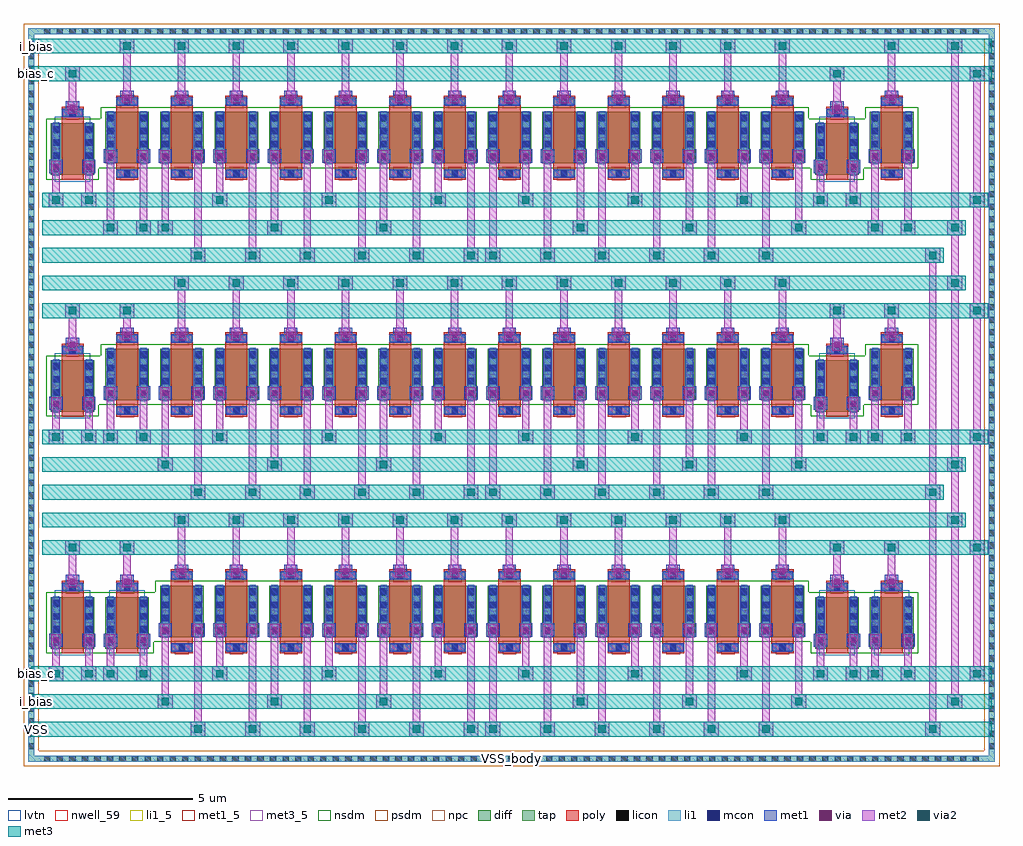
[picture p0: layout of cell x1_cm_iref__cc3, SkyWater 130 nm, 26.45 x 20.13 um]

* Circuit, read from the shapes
.subckt x1_cm_iref__cc3 VSS VSS_body bias_c i_bias
XM1 bias_c bias_c bias_c VSS_body sky130_fd_pr__nfet_01v8_lvt w=1.4 l=0.6 m=8
XM2 bias_c bias_c bias_c VSS_body sky130_fd_pr__nfet_01v8 w=1.4 l=0.6 m=2
XM3 i_bias i_bias i_bias VSS_body sky130_fd_pr__nfet_01v8 w=1.4 l=0.6 m=2
XM4 VSS i_bias i_bias VSS_body sky130_fd_pr__nfet_01v8 w=1.4 l=0.6 m=18
XM5 VSS i_bias bias_c VSS_body sky130_fd_pr__nfet_01v8 w=1.4 l=0.6 m=18
.ends

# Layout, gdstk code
from math import pi, radians
import gdstk
lib = gdstk.Library(unit=1e-6, precision=1e-09)
def R(c, l, rs):  # rectangles x0, y0, x1, y1
    for r in rs: c.add(gdstk.rectangle(r[:2], r[2:], *l))
def A(c, l, x, y, w, h, nx, ny, dx, dy):  # array of equal rectangles
    R(c, l, [(x+i*dx, y+j*dy, x+i*dx+w, y+j*dy+h) for i in range(nx) for j in range(ny)])
nwell_59 = (64, 59)
diff = (65, 20)
tap = (65, 44)
poly = (66, 20)
licon = (66, 44)
li1_5 = (67, 5)
li1 = (67, 20)
mcon = (67, 44)
met1_5 = (68, 5)
met1 = (68, 20)
via = (68, 44)
met2 = (69, 20)
via2 = (69, 44)
met3_5 = (70, 5)
met3 = (70, 20)
nsdm = (93, 44)
psdm = (94, 20)
npc = (95, 20)
lvtn = (125, 44)

sky130_fd_pr__nfet_01v8_ = lib.new_cell('sky130_fd_pr__nfet_01v8_KCM6UP')
R(sky130_fd_pr__nfet_01v8_, diff, [(-0.59,-0.7,0.59,0.7)])
R(sky130_fd_pr__nfet_01v8_, poly, [(-0.3,-1.14,0.3,1.14)])
A(sky130_fd_pr__nfet_01v8_, licon, -0.53, -0.595, 0.17, 0.17, 1, 4, 0, 0.34)
A(sky130_fd_pr__nfet_01v8_, licon, 0.36, -0.595, 0.17, 0.17, 1, 4, 0, 0.34)
R(sky130_fd_pr__nfet_01v8_, licon, [(-0.085,-1.06,0.085,-0.89), (-0.085,0.89,0.085,1.06)])
R(sky130_fd_pr__nfet_01v8_, li1, [(-0.3,-1.06,0.3,-0.89), (-0.53,-0.72,-0.36,0.72), (0.36,-0.72,0.53,0.72), (-0.3,0.89,0.3,1.06)])
A(sky130_fd_pr__nfet_01v8_, mcon, -0.53, -0.625, 0.17, 0.17, 1, 4, 0, 0.36)
A(sky130_fd_pr__nfet_01v8_, mcon, 0.36, -0.625, 0.17, 0.17, 1, 4, 0, 0.36)
R(sky130_fd_pr__nfet_01v8_, mcon, [(-0.085,-1.06,0.085,-0.89), (-0.085,0.89,0.085,1.06)])
R(sky130_fd_pr__nfet_01v8_, met1, [(-0.28,-1.09,0.28,-0.86), (-0.56,-0.7,-0.33,0.7), (0.33,-0.7,0.56,0.7), (-0.28,0.86,0.28,1.09)])
R(sky130_fd_pr__nfet_01v8_, nsdm, [(-0.715,-0.825,0.715,0.825)])
R(sky130_fd_pr__nfet_01v8_, npc, [(-0.185,-1.16,0.185,-0.79), (-0.185,0.79,0.185,1.16)])
sky130_fd_pr__nfet_01v8_.add(gdstk.Label('D', (-0.445,0), layer=67, texttype=5))
sky130_fd_pr__nfet_01v8_.add(gdstk.Label('S', (0.445,0), layer=67, texttype=5))
sky130_fd_pr__nfet_01v8_.add(gdstk.Label('G', (0,0.975), layer=67, texttype=5))

nfet_01v8_w1p4_l0p6_m2__ = lib.new_cell('nfet_01v8_W1p4_L0p6_m2__nf1_gboth_sdfull_ng')
R(nfet_01v8_w1p4_l0p6_m2__, nwell_59, [(0.05,1.09,0.15,1.19)])
R(nfet_01v8_w1p4_l0p6_m2__, met1_5, [(0.03,1.14,0.26,1.34), (0.92,1.14,1.15,1.34), (0.31,2,0.87,2.23)])
R(nfet_01v8_w1p4_l0p6_m2__, met1, [(0.03,1.14,0.26,1.34), (0.92,1.14,1.15,1.34), (0.31,2,0.87,2.23)])
nfet_01v8_w1p4_l0p6_m2__.add(gdstk.Reference(sky130_fd_pr__nfet_01v8_, (0.59,1.14)))
nfet_01v8_w1p4_l0p6_m2__.add(gdstk.Label('D', (0.145,1.24), layer=68, texttype=5))
nfet_01v8_w1p4_l0p6_m2__.add(gdstk.Label('S', (1.035,1.24), layer=68, texttype=5))
nfet_01v8_w1p4_l0p6_m2__.add(gdstk.Label('G', (0.59,2.115), layer=68, texttype=5))
nfet_01v8_w1p4_l0p6_m2__.add(gdstk.Label('B', (0.1,1.14), layer=64, texttype=59))

c_sky130_fd_pr__nfet_01v8_ = lib.new_cell('sky130_fd_pr__nfet_01v8_lvt_RUA5M6')
R(c_sky130_fd_pr__nfet_01v8_, diff, [(-0.59,-0.855,0.59,0.545)])
R(c_sky130_fd_pr__nfet_01v8_, poly, [(-0.3,-0.985,0.3,0.985)])
A(c_sky130_fd_pr__nfet_01v8_, licon, -0.53, -0.75, 0.17, 0.17, 1, 4, 0, 0.34)
A(c_sky130_fd_pr__nfet_01v8_, licon, 0.36, -0.75, 0.17, 0.17, 1, 4, 0, 0.34)
R(c_sky130_fd_pr__nfet_01v8_, licon, [(-0.085,0.735,0.085,0.905)])
R(c_sky130_fd_pr__nfet_01v8_, li1, [(-0.53,-0.875,-0.36,0.565), (0.36,-0.875,0.53,0.565), (-0.3,0.735,0.3,0.905)])
A(c_sky130_fd_pr__nfet_01v8_, mcon, -0.53, -0.78, 0.17, 0.17, 1, 4, 0, 0.36)
A(c_sky130_fd_pr__nfet_01v8_, mcon, 0.36, -0.78, 0.17, 0.17, 1, 4, 0, 0.36)
R(c_sky130_fd_pr__nfet_01v8_, mcon, [(-0.085,0.735,0.085,0.905)])
R(c_sky130_fd_pr__nfet_01v8_, met1, [(-0.56,-0.855,-0.33,0.545), (0.33,-0.855,0.56,0.545), (-0.28,0.705,0.28,0.935)])
R(c_sky130_fd_pr__nfet_01v8_, nsdm, [(-0.715,-0.98,0.715,0.67)])
R(c_sky130_fd_pr__nfet_01v8_, npc, [(-0.185,0.635,0.185,1.005)])
R(c_sky130_fd_pr__nfet_01v8_, lvtn, [(-0.48,-1.035,0.48,0.725)])
c_sky130_fd_pr__nfet_01v8_.add(gdstk.Label('D', (-0.445,-0.155), layer=67, texttype=5))
c_sky130_fd_pr__nfet_01v8_.add(gdstk.Label('S', (0.445,-0.155), layer=67, texttype=5))
c_sky130_fd_pr__nfet_01v8_.add(gdstk.Label('G', (0,0.82), layer=67, texttype=5))

nfet_01v8_lvt_w1p4_l0p6_ = lib.new_cell('nfet_01v8_lvt_W1p4_L0p6_m8__nf1_gtop_sdfull_ng')
R(nfet_01v8_lvt_w1p4_l0p6_, nwell_59, [(0.05,0.78,0.15,0.88)])
R(nfet_01v8_lvt_w1p4_l0p6_, met1_5, [(0.03,0.83,0.26,1.03), (0.92,0.83,1.15,1.03), (0.31,1.69,0.87,1.92)])
R(nfet_01v8_lvt_w1p4_l0p6_, met1, [(0.03,0.83,0.26,1.03), (0.92,0.83,1.15,1.03), (0.31,1.69,0.87,1.92)])
nfet_01v8_lvt_w1p4_l0p6_.add(gdstk.Reference(c_sky130_fd_pr__nfet_01v8_, (0.59,0.985)))
nfet_01v8_lvt_w1p4_l0p6_.add(gdstk.Label('D', (0.145,0.93), layer=68, texttype=5))
nfet_01v8_lvt_w1p4_l0p6_.add(gdstk.Label('S', (1.035,0.93), layer=68, texttype=5))
nfet_01v8_lvt_w1p4_l0p6_.add(gdstk.Label('G', (0.59,1.805), layer=68, texttype=5))
nfet_01v8_lvt_w1p4_l0p6_.add(gdstk.Label('B', (0.1,0.83), layer=64, texttype=59))

nfet_01v8_w1p4_l0p6_m18_ = lib.new_cell('nfet_01v8_W1p4_L0p6_m18__nf1_gboth_sdfull_ng')
R(nfet_01v8_w1p4_l0p6_m18_, nwell_59, [(0.05,1.09,0.15,1.19)])
R(nfet_01v8_w1p4_l0p6_m18_, met1_5, [(0.03,1.14,0.26,1.34), (0.92,1.14,1.15,1.34), (0.31,2,0.87,2.23)])
R(nfet_01v8_w1p4_l0p6_m18_, met1, [(0.03,1.14,0.26,1.34), (0.92,1.14,1.15,1.34), (0.31,2,0.87,2.23)])
nfet_01v8_w1p4_l0p6_m18_.add(gdstk.Reference(sky130_fd_pr__nfet_01v8_, (0.59,1.14)))
nfet_01v8_w1p4_l0p6_m18_.add(gdstk.Label('D', (0.145,1.24), layer=68, texttype=5))
nfet_01v8_w1p4_l0p6_m18_.add(gdstk.Label('S', (1.035,1.24), layer=68, texttype=5))
nfet_01v8_w1p4_l0p6_m18_.add(gdstk.Label('G', (0.59,2.115), layer=68, texttype=5))
nfet_01v8_w1p4_l0p6_m18_.add(gdstk.Label('B', (0.1,1.14), layer=64, texttype=59))

x1_cm_iref__cc3 = lib.new_cell('x1_cm_iref__cc3')
R(x1_cm_iref__cc3, tap, [(-0.485,-2.935,25.715,-2.765), (-0.485,-2.765,-0.315,16.775), (25.545,-2.765,25.715,16.775), (-0.485,16.775,25.715,16.945)])
A(x1_cm_iref__cc3, licon, -0.05, -2.935, 0.17, 0.17, 75, 2, 0.34, 19.71)
A(x1_cm_iref__cc3, licon, -0.485, -2.6, 0.17, 0.17, 1, 57, 0, 0.34)
A(x1_cm_iref__cc3, licon, 25.545, -2.6, 0.17, 0.17, 1, 57, 0, 0.34)
R(x1_cm_iref__cc3, li1_5, [(12.565,-2.9,12.665,-2.8)])
R(x1_cm_iref__cc3, li1, [(-0.485,-2.935,25.715,-2.765), (-0.485,-2.765,-0.315,16.775), (25.545,-2.765,25.715,16.775), (-0.485,16.775,25.715,16.945)])
A(x1_cm_iref__cc3, met1, 0.09, 0.18, 0.36, 0.36, 1, 3, 0, 6.42)
A(x1_cm_iref__cc3, met1, 0.98, 0.18, 0.36, 0.36, 1, 3, 0, 6.42)
A(x1_cm_iref__cc3, met1, 20.81, 0.18, 0.36, 0.36, 1, 3, 0, 6.42)
A(x1_cm_iref__cc3, met1, 21.7, 0.18, 0.36, 0.36, 1, 3, 0, 6.42)
A(x1_cm_iref__cc3, met1, 3.05, 0.46, 0.36, 0.36, 1, 3, 0, 6.42)
A(x1_cm_iref__cc3, met1, 3.94, 0.46, 0.36, 0.36, 1, 3, 0, 6.42)
A(x1_cm_iref__cc3, met1, 4.53, 0.46, 0.36, 0.36, 1, 3, 0, 6.42)
A(x1_cm_iref__cc3, met1, 5.42, 0.46, 0.36, 0.36, 1, 3, 0, 6.42)
A(x1_cm_iref__cc3, met1, 6.01, 0.46, 0.36, 0.36, 1, 3, 0, 6.42)
A(x1_cm_iref__cc3, met1, 6.9, 0.46, 0.36, 0.36, 1, 3, 0, 6.42)
A(x1_cm_iref__cc3, met1, 7.49, 0.46, 0.36, 0.36, 1, 3, 0, 6.42)
A(x1_cm_iref__cc3, met1, 8.38, 0.46, 0.36, 0.36, 1, 3, 0, 6.42)
A(x1_cm_iref__cc3, met1, 8.97, 0.46, 0.36, 0.36, 1, 3, 0, 6.42)
A(x1_cm_iref__cc3, met1, 9.86, 0.46, 0.36, 0.36, 1, 3, 0, 6.42)
A(x1_cm_iref__cc3, met1, 10.45, 0.46, 0.36, 0.36, 1, 3, 0, 6.42)
A(x1_cm_iref__cc3, met1, 11.34, 0.46, 0.36, 0.36, 1, 3, 0, 6.42)
A(x1_cm_iref__cc3, met1, 11.93, 0.46, 0.36, 0.36, 1, 3, 0, 6.42)
A(x1_cm_iref__cc3, met1, 12.82, 0.46, 0.36, 0.36, 1, 3, 0, 6.42)
A(x1_cm_iref__cc3, met1, 13.41, 0.46, 0.36, 0.36, 1, 3, 0, 6.42)
A(x1_cm_iref__cc3, met1, 14.3, 0.46, 0.36, 0.36, 1, 3, 0, 6.42)
A(x1_cm_iref__cc3, met1, 14.89, 0.46, 0.36, 0.36, 1, 3, 0, 6.42)
A(x1_cm_iref__cc3, met1, 15.78, 0.46, 0.36, 0.36, 1, 3, 0, 6.42)
A(x1_cm_iref__cc3, met1, 16.37, 0.46, 0.36, 0.36, 1, 3, 0, 6.42)
A(x1_cm_iref__cc3, met1, 17.26, 0.46, 0.36, 0.36, 1, 3, 0, 6.42)
A(x1_cm_iref__cc3, met1, 17.85, 0.46, 0.36, 0.36, 1, 3, 0, 6.42)
A(x1_cm_iref__cc3, met1, 18.74, 0.46, 0.36, 0.36, 1, 3, 0, 6.42)
A(x1_cm_iref__cc3, met1, 19.33, 0.46, 0.36, 0.36, 1, 3, 0, 6.42)
A(x1_cm_iref__cc3, met1, 20.22, 0.46, 0.36, 0.36, 1, 3, 0, 6.42)
A(x1_cm_iref__cc3, met1, 0.535, 1.77, 0.36, 0.36, 1, 3, 0, 6.42)
A(x1_cm_iref__cc3, met1, 21.255, 1.77, 0.36, 0.36, 1, 3, 0, 6.42)
A(x1_cm_iref__cc3, met1, 3.495, 2.05, 0.36, 0.36, 12, 1, 1.48, 0)
A(x1_cm_iref__cc3, met1, 2.015, 8.47, 0.36, 0.36, 13, 2, 1.48, 6.42)
R(x1_cm_iref__cc3, met1, [(1.57,0.18,1.93,0.54), (2.46,0.18,2.82,0.54), (22.29,0.18,22.65,0.54), (23.18,0.18,23.54,0.54), (2.015,1.77,2.375,2.13), (22.735,1.77,23.095,2.13), (1.57,6.88,1.93,7.24), (2.46,6.88,2.82,7.24), (22.29,6.88,22.65,7.24), (23.18,6.88,23.54,7.24), (22.735,8.47,23.095,8.83), (1.57,13.3,1.93,13.66), (2.46,13.3,2.82,13.66), (22.29,13.3,22.65,13.66), (23.18,13.3,23.54,13.66), (22.735,14.89,23.095,15.25)])
A(x1_cm_iref__cc3, via, 0.195, 0.285, 0.15, 0.15, 1, 3, 0, 6.42)
A(x1_cm_iref__cc3, via, 1.085, 0.285, 0.15, 0.15, 1, 3, 0, 6.42)
A(x1_cm_iref__cc3, via, 20.915, 0.285, 0.15, 0.15, 1, 3, 0, 6.42)
A(x1_cm_iref__cc3, via, 21.805, 0.285, 0.15, 0.15, 1, 3, 0, 6.42)
A(x1_cm_iref__cc3, via, 3.155, 0.565, 0.15, 0.15, 1, 3, 0, 6.42)
A(x1_cm_iref__cc3, via, 4.045, 0.565, 0.15, 0.15, 1, 3, 0, 6.42)
A(x1_cm_iref__cc3, via, 4.635, 0.565, 0.15, 0.15, 1, 3, 0, 6.42)
A(x1_cm_iref__cc3, via, 5.525, 0.565, 0.15, 0.15, 1, 3, 0, 6.42)
A(x1_cm_iref__cc3, via, 6.115, 0.565, 0.15, 0.15, 1, 3, 0, 6.42)
A(x1_cm_iref__cc3, via, 7.005, 0.565, 0.15, 0.15, 1, 3, 0, 6.42)
A(x1_cm_iref__cc3, via, 7.595, 0.565, 0.15, 0.15, 1, 3, 0, 6.42)
A(x1_cm_iref__cc3, via, 8.485, 0.565, 0.15, 0.15, 1, 3, 0, 6.42)
A(x1_cm_iref__cc3, via, 9.075, 0.565, 0.15, 0.15, 1, 3, 0, 6.42)
A(x1_cm_iref__cc3, via, 9.965, 0.565, 0.15, 0.15, 1, 3, 0, 6.42)
A(x1_cm_iref__cc3, via, 10.555, 0.565, 0.15, 0.15, 1, 3, 0, 6.42)
A(x1_cm_iref__cc3, via, 11.445, 0.565, 0.15, 0.15, 1, 3, 0, 6.42)
A(x1_cm_iref__cc3, via, 12.035, 0.565, 0.15, 0.15, 1, 3, 0, 6.42)
A(x1_cm_iref__cc3, via, 12.925, 0.565, 0.15, 0.15, 1, 3, 0, 6.42)
A(x1_cm_iref__cc3, via, 13.515, 0.565, 0.15, 0.15, 1, 3, 0, 6.42)
A(x1_cm_iref__cc3, via, 14.405, 0.565, 0.15, 0.15, 1, 3, 0, 6.42)
A(x1_cm_iref__cc3, via, 14.995, 0.565, 0.15, 0.15, 1, 3, 0, 6.42)
A(x1_cm_iref__cc3, via, 15.885, 0.565, 0.15, 0.15, 1, 3, 0, 6.42)
A(x1_cm_iref__cc3, via, 16.475, 0.565, 0.15, 0.15, 1, 3, 0, 6.42)
A(x1_cm_iref__cc3, via, 17.365, 0.565, 0.15, 0.15, 1, 3, 0, 6.42)
A(x1_cm_iref__cc3, via, 17.955, 0.565, 0.15, 0.15, 1, 3, 0, 6.42)
A(x1_cm_iref__cc3, via, 18.845, 0.565, 0.15, 0.15, 1, 3, 0, 6.42)
A(x1_cm_iref__cc3, via, 19.435, 0.565, 0.15, 0.15, 1, 3, 0, 6.42)
A(x1_cm_iref__cc3, via, 20.325, 0.565, 0.15, 0.15, 1, 3, 0, 6.42)
A(x1_cm_iref__cc3, via, 0.64, 1.875, 0.15, 0.15, 1, 3, 0, 6.42)
A(x1_cm_iref__cc3, via, 21.36, 1.875, 0.15, 0.15, 1, 3, 0, 6.42)
A(x1_cm_iref__cc3, via, 3.6, 2.155, 0.15, 0.15, 12, 1, 1.48, 0)
A(x1_cm_iref__cc3, via, 2.12, 8.575, 0.15, 0.15, 13, 2, 1.48, 6.42)
R(x1_cm_iref__cc3, via, [(1.675,0.285,1.825,0.435), (2.565,0.285,2.715,0.435), (22.395,0.285,22.545,0.435), (23.285,0.285,23.435,0.435), (2.12,1.875,2.27,2.025), (22.84,1.875,22.99,2.025), (1.675,6.985,1.825,7.135), (2.565,6.985,2.715,7.135), (22.395,6.985,22.545,7.135), (23.285,6.985,23.435,7.135), (22.84,8.575,22.99,8.725), (1.675,13.405,1.825,13.555), (2.565,13.405,2.715,13.555), (22.395,13.405,22.545,13.555), (23.285,13.405,23.435,13.555), (22.84,14.995,22.99,15.145)])
A(x1_cm_iref__cc3, met2, 3.92, -2.25, 0.4, 0.4, 6, 3, 1.48, 6.42)
A(x1_cm_iref__cc3, met2, 11.91, -2.25, 0.4, 0.4, 6, 3, 1.48, 6.42)
A(x1_cm_iref__cc3, met2, 23.83, -2.25, 0.4, 0.4, 1, 3, 0, 6.42)
A(x1_cm_iref__cc3, met2, 4.02, -1.85, 0.2, 2.33, 6, 3, 1.48, 6.42)
A(x1_cm_iref__cc3, met2, 12.01, -1.85, 0.2, 2.33, 6, 3, 1.48, 6.42)
A(x1_cm_iref__cc3, met2, 3.03, -1.5, 0.4, 0.4, 3, 3, 2.96, 6.42)
A(x1_cm_iref__cc3, met2, 14.28, -1.5, 0.4, 0.4, 3, 3, 2.96, 6.42)
A(x1_cm_iref__cc3, met2, 3.13, -1.1, 0.2, 1.58, 3, 3, 2.96, 6.42)
A(x1_cm_iref__cc3, met2, 14.38, -1.1, 0.2, 1.58, 3, 3, 2.96, 6.42)
A(x1_cm_iref__cc3, met2, 24.53, -1.1, 0.2, 4.52, 1, 3, 0, 6.42)
A(x1_cm_iref__cc3, met2, 0.07, -0.75, 0.4, 0.4, 1, 3, 0, 6.42)
A(x1_cm_iref__cc3, met2, 0.96, -0.75, 0.4, 0.4, 1, 3, 0, 6.42)
A(x1_cm_iref__cc3, met2, 4.51, -0.75, 0.4, 0.4, 3, 3, 2.96, 6.42)
A(x1_cm_iref__cc3, met2, 12.8, -0.75, 0.4, 0.4, 3, 3, 2.96, 6.42)
A(x1_cm_iref__cc3, met2, 20.79, -0.75, 0.4, 0.4, 1, 3, 0, 6.42)
A(x1_cm_iref__cc3, met2, 21.68, -0.75, 0.4, 0.4, 1, 3, 0, 6.42)
A(x1_cm_iref__cc3, met2, 0.17, -0.35, 0.2, 0.55, 1, 3, 0, 6.42)
A(x1_cm_iref__cc3, met2, 1.06, -0.35, 0.2, 0.55, 1, 3, 0, 6.42)
A(x1_cm_iref__cc3, met2, 4.61, -0.35, 0.2, 0.83, 3, 3, 2.96, 6.42)
A(x1_cm_iref__cc3, met2, 12.9, -0.35, 0.2, 0.83, 3, 3, 2.96, 6.42)
A(x1_cm_iref__cc3, met2, 20.89, -0.35, 0.2, 0.55, 1, 3, 0, 6.42)
A(x1_cm_iref__cc3, met2, 21.78, -0.35, 0.2, 0.55, 1, 3, 0, 6.42)
A(x1_cm_iref__cc3, met2, 25.13, -0.35, 0.2, 3.02, 1, 3, 0, 6.42)
A(x1_cm_iref__cc3, met2, 0.14, 0.2, 0.26, 0.32, 1, 3, 0, 6.42)
A(x1_cm_iref__cc3, met2, 1.03, 0.2, 0.26, 0.32, 1, 3, 0, 6.42)
A(x1_cm_iref__cc3, met2, 20.86, 0.2, 0.26, 0.32, 1, 3, 0, 6.42)
A(x1_cm_iref__cc3, met2, 21.75, 0.2, 0.26, 0.32, 1, 3, 0, 6.42)
A(x1_cm_iref__cc3, met2, 3.1, 0.48, 0.26, 0.32, 1, 3, 0, 6.42)
A(x1_cm_iref__cc3, met2, 3.99, 0.48, 0.26, 0.32, 1, 3, 0, 6.42)
A(x1_cm_iref__cc3, met2, 4.58, 0.48, 0.26, 0.32, 1, 3, 0, 6.42)
A(x1_cm_iref__cc3, met2, 5.47, 0.48, 0.26, 0.32, 1, 3, 0, 6.42)
A(x1_cm_iref__cc3, met2, 6.06, 0.48, 0.26, 0.32, 1, 3, 0, 6.42)
A(x1_cm_iref__cc3, met2, 6.95, 0.48, 0.26, 0.32, 1, 3, 0, 6.42)
A(x1_cm_iref__cc3, met2, 7.54, 0.48, 0.26, 0.32, 1, 3, 0, 6.42)
A(x1_cm_iref__cc3, met2, 8.43, 0.48, 0.26, 0.32, 1, 3, 0, 6.42)
A(x1_cm_iref__cc3, met2, 9.02, 0.48, 0.26, 0.32, 1, 3, 0, 6.42)
A(x1_cm_iref__cc3, met2, 9.91, 0.48, 0.26, 0.32, 1, 3, 0, 6.42)
A(x1_cm_iref__cc3, met2, 10.5, 0.48, 0.26, 0.32, 1, 3, 0, 6.42)
A(x1_cm_iref__cc3, met2, 11.39, 0.48, 0.26, 0.32, 1, 3, 0, 6.42)
A(x1_cm_iref__cc3, met2, 11.98, 0.48, 0.26, 0.32, 1, 3, 0, 6.42)
A(x1_cm_iref__cc3, met2, 12.87, 0.48, 0.26, 0.32, 1, 3, 0, 6.42)
A(x1_cm_iref__cc3, met2, 13.46, 0.48, 0.26, 0.32, 1, 3, 0, 6.42)
A(x1_cm_iref__cc3, met2, 14.35, 0.48, 0.26, 0.32, 1, 3, 0, 6.42)
A(x1_cm_iref__cc3, met2, 14.94, 0.48, 0.26, 0.32, 1, 3, 0, 6.42)
A(x1_cm_iref__cc3, met2, 15.83, 0.48, 0.26, 0.32, 1, 3, 0, 6.42)
A(x1_cm_iref__cc3, met2, 16.42, 0.48, 0.26, 0.32, 1, 3, 0, 6.42)
A(x1_cm_iref__cc3, met2, 17.31, 0.48, 0.26, 0.32, 1, 3, 0, 6.42)
A(x1_cm_iref__cc3, met2, 17.9, 0.48, 0.26, 0.32, 1, 3, 0, 6.42)
A(x1_cm_iref__cc3, met2, 18.79, 0.48, 0.26, 0.32, 1, 3, 0, 6.42)
A(x1_cm_iref__cc3, met2, 19.38, 0.48, 0.26, 0.32, 1, 3, 0, 6.42)
A(x1_cm_iref__cc3, met2, 20.27, 0.48, 0.26, 0.32, 1, 3, 0, 6.42)
A(x1_cm_iref__cc3, met2, 0.585, 1.79, 0.26, 0.32, 1, 3, 0, 6.42)
A(x1_cm_iref__cc3, met2, 21.305, 1.79, 0.26, 0.32, 1, 3, 0, 6.42)
A(x1_cm_iref__cc3, met2, 3.545, 2.07, 0.26, 0.32, 12, 1, 1.48, 0)
A(x1_cm_iref__cc3, met2, 0.615, 2.11, 0.2, 0.56, 1, 3, 0, 6.42)
A(x1_cm_iref__cc3, met2, 21.335, 2.11, 0.2, 0.56, 1, 3, 0, 6.42)
A(x1_cm_iref__cc3, met2, 3.575, 2.39, 0.2, 1.03, 12, 2, 1.48, 6.42)
A(x1_cm_iref__cc3, met2, 0.515, 2.67, 0.4, 0.4, 1, 3, 0, 6.42)
A(x1_cm_iref__cc3, met2, 21.235, 2.67, 0.4, 0.4, 1, 3, 0, 6.42)
A(x1_cm_iref__cc3, met2, 3.475, 3.42, 0.4, 0.4, 12, 2, 1.48, 6.42)
A(x1_cm_iref__cc3, met2, 2.065, 8.49, 0.26, 0.32, 13, 2, 1.48, 6.42)
A(x1_cm_iref__cc3, met2, 2.095, 15.23, 0.2, 1.03, 13, 1, 1.48, 0)
A(x1_cm_iref__cc3, met2, 1.995, 16.26, 0.4, 0.4, 13, 1, 1.48, 0)
R(x1_cm_iref__cc3, met2, [(23.93,-1.85,24.13,4.17), (24.43,-1.5,24.83,-1.1), (1.55,-0.75,1.95,-0.35), (2.44,-0.75,2.84,-0.35), (22.27,-0.75,22.67,-0.35), (23.16,-0.75,23.56,-0.35), (25.03,-0.75,25.43,-0.35), (1.65,-0.35,1.85,0.2), (2.54,-0.35,2.74,0.2), (22.37,-0.35,22.57,0.2), (23.26,-0.35,23.46,0.2), (1.62,0.2,1.88,0.52), (2.51,0.2,2.77,0.52), (22.34,0.2,22.6,0.52), (23.23,0.2,23.49,0.52), (2.065,1.79,2.325,2.11), (22.785,1.79,23.045,2.11), (2.095,2.11,2.295,2.67), (22.815,2.11,23.015,2.67), (1.995,2.67,2.395,3.07), (22.715,2.67,23.115,3.07), (25.03,2.67,25.43,3.07), (25.13,3.07,25.33,5.67), (24.43,3.42,24.83,3.82), (24.53,3.82,24.73,4.92), (23.93,4.57,24.13,10.59), (24.43,4.92,24.83,5.32), (1.55,5.67,1.95,6.07), (2.44,5.67,2.84,6.07), (22.27,5.67,22.67,6.07), (23.16,5.67,23.56,6.07), (25.03,5.67,25.43,6.07), (1.65,6.07,1.85,6.9), (2.54,6.07,2.74,6.9), (22.37,6.07,22.57,6.9), (23.26,6.07,23.46,6.9), (1.62,6.9,1.88,7.22), (2.51,6.9,2.77,7.22), (22.34,6.9,22.6,7.22), (23.23,6.9,23.49,7.22), (22.785,8.49,23.045,8.81), (2.095,8.81,2.295,9.09), (22.815,8.81,23.015,9.09), (1.995,9.09,2.395,9.49), (22.715,9.09,23.115,9.49), (25.03,9.09,25.43,9.49), (25.13,9.49,25.33,12.09), (24.43,9.84,24.83,10.24), (24.53,10.24,24.73,11.34), (1.55,11.34,1.95,11.74), (2.44,11.34,2.84,11.74), (22.27,11.34,22.67,11.74), (23.16,11.34,23.56,11.74), (24.43,11.34,24.83,11.74), (1.65,11.74,1.85,13.32), (2.54,11.74,2.74,13.32), (22.37,11.74,22.57,13.32), (23.26,11.74,23.46,13.32), (25.03,12.09,25.43,12.49), (1.62,13.32,1.88,13.64), (2.51,13.32,2.77,13.64), (22.34,13.32,22.6,13.64), (23.23,13.32,23.49,13.64), (22.785,14.91,23.045,15.23), (22.815,15.23,23.015,16.26), (25.03,15.51,25.43,15.91), (22.715,16.26,23.115,16.66), (24.43,16.26,24.83,16.66)])
A(x1_cm_iref__cc3, via2, 4.02, -2.15, 0.2, 0.2, 6, 3, 1.48, 6.42)
A(x1_cm_iref__cc3, via2, 12.01, -2.15, 0.2, 0.2, 6, 3, 1.48, 6.42)
A(x1_cm_iref__cc3, via2, 23.93, -2.15, 0.2, 0.2, 1, 3, 0, 6.42)
A(x1_cm_iref__cc3, via2, 3.13, -1.4, 0.2, 0.2, 3, 3, 2.96, 6.42)
A(x1_cm_iref__cc3, via2, 14.38, -1.4, 0.2, 0.2, 3, 3, 2.96, 6.42)
A(x1_cm_iref__cc3, via2, 0.17, -0.65, 0.2, 0.2, 1, 3, 0, 6.42)
A(x1_cm_iref__cc3, via2, 1.06, -0.65, 0.2, 0.2, 1, 3, 0, 6.42)
A(x1_cm_iref__cc3, via2, 4.61, -0.65, 0.2, 0.2, 3, 3, 2.96, 6.42)
A(x1_cm_iref__cc3, via2, 12.9, -0.65, 0.2, 0.2, 3, 3, 2.96, 6.42)
A(x1_cm_iref__cc3, via2, 20.89, -0.65, 0.2, 0.2, 1, 3, 0, 6.42)
A(x1_cm_iref__cc3, via2, 21.78, -0.65, 0.2, 0.2, 1, 3, 0, 6.42)
A(x1_cm_iref__cc3, via2, 0.615, 2.77, 0.2, 0.2, 1, 3, 0, 6.42)
A(x1_cm_iref__cc3, via2, 21.335, 2.77, 0.2, 0.2, 1, 3, 0, 6.42)
A(x1_cm_iref__cc3, via2, 3.575, 3.52, 0.2, 0.2, 12, 2, 1.48, 6.42)
A(x1_cm_iref__cc3, via2, 2.095, 16.36, 0.2, 0.2, 13, 1, 1.48, 0)
R(x1_cm_iref__cc3, via2, [(24.53,-1.4,24.73,-1.2), (1.65,-0.65,1.85,-0.45), (2.54,-0.65,2.74,-0.45), (22.37,-0.65,22.57,-0.45), (23.26,-0.65,23.46,-0.45), (25.13,-0.65,25.33,-0.45), (2.095,2.77,2.295,2.97), (22.815,2.77,23.015,2.97), (25.13,2.77,25.33,2.97), (24.53,3.52,24.73,3.72), (24.53,5.02,24.73,5.22), (1.65,5.77,1.85,5.97), (2.54,5.77,2.74,5.97), (22.37,5.77,22.57,5.97), (23.26,5.77,23.46,5.97), (25.13,5.77,25.33,5.97), (2.095,9.19,2.295,9.39), (22.815,9.19,23.015,9.39), (25.13,9.19,25.33,9.39), (24.53,9.94,24.73,10.14), (1.65,11.44,1.85,11.64), (2.54,11.44,2.74,11.64), (22.37,11.44,22.57,11.64), (23.26,11.44,23.46,11.64), (24.53,11.44,24.73,11.64), (25.13,12.19,25.33,12.39), (25.13,15.61,25.33,15.81), (22.815,16.36,23.015,16.56), (24.53,16.36,24.73,16.56)])
A(x1_cm_iref__cc3, met3_5, -0.3, -2.1, 0.1, 0.1, 1, 3, 0, 0.75)
R(x1_cm_iref__cc3, met3_5, [(-0.3,15.66,-0.2,15.76), (-0.3,16.41,-0.2,16.51)])
A(x1_cm_iref__cc3, met3, -0.4, -2.25, 26.03, 0.4, 1, 3, 0, 0.75)
R(x1_cm_iref__cc3, met3, [(-0.1,2.67,25.53,3.07), (-0.1,3.42,24.93,3.82), (-0.1,4.17,24.33,4.57), (-0.1,4.92,24.93,5.32), (-0.1,5.67,25.53,6.07), (-0.1,9.09,25.53,9.49), (-0.1,9.84,24.93,10.24), (-0.1,10.59,24.33,10.99), (-0.1,11.34,24.93,11.74), (-0.1,12.09,25.53,12.49), (-0.4,15.51,25.63,15.91), (-0.4,16.26,25.63,16.66)])
A(x1_cm_iref__cc3, nsdm, 4.395, 0.315, 0.05, 1.65, 11, 1, 1.48, 0)
A(x1_cm_iref__cc3, nsdm, 20.675, 0.315, 0.05, 1.34, 1, 3, 0, 6.42)
A(x1_cm_iref__cc3, nsdm, 2.915, 6.735, 0.05, 1.65, 12, 2, 1.48, 6.42)
R(x1_cm_iref__cc3, nsdm, [(1.435,0.005,1.485,1.655), (22.155,0.005,22.205,1.655), (2.915,0.315,2.965,1.655), (1.435,6.735,1.485,8.075), (22.155,6.735,22.205,8.075), (1.435,13.155,1.485,14.495), (22.155,13.155,22.205,14.495)])
R(x1_cm_iref__cc3, psdm, [(-0.61,-3.06,25.84,-2.64), (-0.61,-2.64,-0.19,16.65), (25.42,-2.64,25.84,16.65), (-0.61,16.65,25.84,17.07)])
x1_cm_iref__cc3.add(gdstk.Reference(nfet_01v8_w1p4_l0p6_m2__, (22.33,12.84)))
x1_cm_iref__cc3.add(gdstk.Reference(nfet_01v8_lvt_w1p4_l0p6_, (20.85,12.84)))
x1_cm_iref__cc3.add(gdstk.Reference(nfet_01v8_w1p4_l0p6_m18_, (20.55,12.84), rotation=pi, x_reflection=True))
x1_cm_iref__cc3.add(gdstk.Reference(nfet_01v8_w1p4_l0p6_m18_, (19.07,12.84), rotation=pi, x_reflection=True))
x1_cm_iref__cc3.add(gdstk.Reference(nfet_01v8_w1p4_l0p6_m18_, (17.59,12.84), rotation=pi, x_reflection=True))
x1_cm_iref__cc3.add(gdstk.Reference(nfet_01v8_w1p4_l0p6_m18_, (16.11,12.84), rotation=pi, x_reflection=True))
x1_cm_iref__cc3.add(gdstk.Reference(nfet_01v8_w1p4_l0p6_m18_, (14.63,12.84), rotation=pi, x_reflection=True))
x1_cm_iref__cc3.add(gdstk.Reference(nfet_01v8_w1p4_l0p6_m18_, (13.15,12.84), rotation=pi, x_reflection=True))
x1_cm_iref__cc3.add(gdstk.Reference(nfet_01v8_w1p4_l0p6_m18_, (10.49,12.84)))
x1_cm_iref__cc3.add(gdstk.Reference(nfet_01v8_w1p4_l0p6_m18_, (9.01,12.84)))
x1_cm_iref__cc3.add(gdstk.Reference(nfet_01v8_w1p4_l0p6_m18_, (7.53,12.84)))
x1_cm_iref__cc3.add(gdstk.Reference(nfet_01v8_w1p4_l0p6_m18_, (6.05,12.84)))
x1_cm_iref__cc3.add(gdstk.Reference(nfet_01v8_w1p4_l0p6_m18_, (4.57,12.84)))
x1_cm_iref__cc3.add(gdstk.Reference(nfet_01v8_w1p4_l0p6_m18_, (3.09,12.84)))
x1_cm_iref__cc3.add(gdstk.Reference(nfet_01v8_w1p4_l0p6_m2__, (1.61,12.84)))
x1_cm_iref__cc3.add(gdstk.Reference(nfet_01v8_lvt_w1p4_l0p6_, (0.13,12.84)))
x1_cm_iref__cc3.add(gdstk.Reference(nfet_01v8_w1p4_l0p6_m2__, (22.33,6.42)))
x1_cm_iref__cc3.add(gdstk.Reference(nfet_01v8_lvt_w1p4_l0p6_, (20.85,6.42)))
x1_cm_iref__cc3.add(gdstk.Reference(nfet_01v8_w1p4_l0p6_m18_, (20.55,6.42), rotation=pi, x_reflection=True))
x1_cm_iref__cc3.add(gdstk.Reference(nfet_01v8_w1p4_l0p6_m18_, (19.07,6.42), rotation=pi, x_reflection=True))
x1_cm_iref__cc3.add(gdstk.Reference(nfet_01v8_w1p4_l0p6_m18_, (17.59,6.42), rotation=pi, x_reflection=True))
x1_cm_iref__cc3.add(gdstk.Reference(nfet_01v8_w1p4_l0p6_m18_, (16.11,6.42), rotation=pi, x_reflection=True))
x1_cm_iref__cc3.add(gdstk.Reference(nfet_01v8_w1p4_l0p6_m18_, (14.63,6.42), rotation=pi, x_reflection=True))
x1_cm_iref__cc3.add(gdstk.Reference(nfet_01v8_w1p4_l0p6_m18_, (13.15,6.42), rotation=pi, x_reflection=True))
x1_cm_iref__cc3.add(gdstk.Reference(nfet_01v8_w1p4_l0p6_m18_, (10.49,6.42)))
x1_cm_iref__cc3.add(gdstk.Reference(nfet_01v8_w1p4_l0p6_m18_, (9.01,6.42)))
x1_cm_iref__cc3.add(gdstk.Reference(nfet_01v8_w1p4_l0p6_m18_, (7.53,6.42)))
x1_cm_iref__cc3.add(gdstk.Reference(nfet_01v8_w1p4_l0p6_m18_, (6.05,6.42)))
x1_cm_iref__cc3.add(gdstk.Reference(nfet_01v8_w1p4_l0p6_m18_, (4.57,6.42)))
x1_cm_iref__cc3.add(gdstk.Reference(nfet_01v8_w1p4_l0p6_m18_, (3.09,6.42)))
x1_cm_iref__cc3.add(gdstk.Reference(nfet_01v8_w1p4_l0p6_m2__, (1.61,6.42)))
x1_cm_iref__cc3.add(gdstk.Reference(nfet_01v8_lvt_w1p4_l0p6_, (0.13,6.42)))
x1_cm_iref__cc3.add(gdstk.Reference(nfet_01v8_lvt_w1p4_l0p6_, (22.33,0)))
x1_cm_iref__cc3.add(gdstk.Reference(nfet_01v8_lvt_w1p4_l0p6_, (20.85,0)))
x1_cm_iref__cc3.add(gdstk.Reference(nfet_01v8_w1p4_l0p6_m18_, (20.55,0), rotation=pi, x_reflection=True))
x1_cm_iref__cc3.add(gdstk.Reference(nfet_01v8_w1p4_l0p6_m18_, (19.07,0), rotation=pi, x_reflection=True))
x1_cm_iref__cc3.add(gdstk.Reference(nfet_01v8_w1p4_l0p6_m18_, (17.59,0), rotation=pi, x_reflection=True))
x1_cm_iref__cc3.add(gdstk.Reference(nfet_01v8_w1p4_l0p6_m18_, (16.11,0), rotation=pi, x_reflection=True))
x1_cm_iref__cc3.add(gdstk.Reference(nfet_01v8_w1p4_l0p6_m18_, (14.63,0), rotation=pi, x_reflection=True))
x1_cm_iref__cc3.add(gdstk.Reference(nfet_01v8_w1p4_l0p6_m18_, (13.15,0), rotation=pi, x_reflection=True))
x1_cm_iref__cc3.add(gdstk.Reference(nfet_01v8_w1p4_l0p6_m18_, (10.49,0)))
x1_cm_iref__cc3.add(gdstk.Reference(nfet_01v8_w1p4_l0p6_m18_, (9.01,0)))
x1_cm_iref__cc3.add(gdstk.Reference(nfet_01v8_w1p4_l0p6_m18_, (7.53,0)))
x1_cm_iref__cc3.add(gdstk.Reference(nfet_01v8_w1p4_l0p6_m18_, (6.05,0)))
x1_cm_iref__cc3.add(gdstk.Reference(nfet_01v8_w1p4_l0p6_m18_, (4.57,0)))
x1_cm_iref__cc3.add(gdstk.Reference(nfet_01v8_w1p4_l0p6_m18_, (3.09,0)))
x1_cm_iref__cc3.add(gdstk.Reference(nfet_01v8_lvt_w1p4_l0p6_, (1.61,0)))
x1_cm_iref__cc3.add(gdstk.Reference(nfet_01v8_lvt_w1p4_l0p6_, (0.13,0)))
x1_cm_iref__cc3.add(gdstk.Label('bias_c', (-0.25,15.71), layer=70, texttype=5))
x1_cm_iref__cc3.add(gdstk.Label('i_bias', (-0.25,16.46), layer=70, texttype=5))
x1_cm_iref__cc3.add(gdstk.Label('bias_c', (-0.25,-0.55), layer=70, texttype=5))
x1_cm_iref__cc3.add(gdstk.Label('i_bias', (-0.25,-1.3), layer=70, texttype=5))
x1_cm_iref__cc3.add(gdstk.Label('VSS', (-0.25,-2.05), layer=70, texttype=5))
x1_cm_iref__cc3.add(gdstk.Label('VSS_body', (12.615,-2.85), layer=67, texttype=5))

lib.write_gds('x1_cm_iref__cc3.gds')
